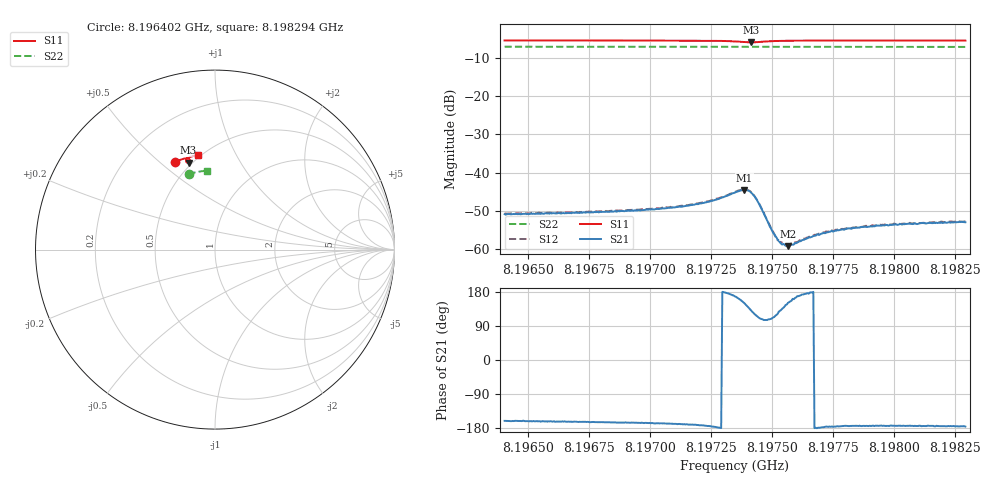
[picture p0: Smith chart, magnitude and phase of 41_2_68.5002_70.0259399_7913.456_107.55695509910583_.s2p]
#  HZ  S  RI  R  50.00
! Rohde & Schwarz Vector Network Analyzer
! Rohde-Schwarz,ZNB20-2Port,1311601062101988,3.16
! Created: UTC 3/20/2024, 4:50:20 PM
! freq[Hz]  re:S11  im:S11  re:S21  im:S21  re:S12  im:S12  re:S22  im:S22
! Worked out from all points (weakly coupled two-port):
!   401 points, 8.196402 GHz to 8.198294 GHz, reference 50 ohm
!   highest |S21| = -44.56 dB at 8.197386 GHz (marker M1); lowest = -59.3 dB at 8.197566 GHz (marker M2)
!   lowest |S11| = -5.9 dB at 8.197414 GHz (marker M3), VSWR 3.05, Z = 24 + j31.2 ohm
!   |S11| at or under -10 dB: nowhere
!   |S22| runs from -7.1 to -7.0 dB; largest |S21 - S12| = 0.0003
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8.1964022e9  -0.2206 0.4895  -0.00269 -0.000946  -0.00277 -0.000868  -0.1474 0.4201
8.196719e9  -0.1989 0.4982  -0.00284 -0.000856  -0.00295 -0.000773  -0.1302 0.425
8.1970359e9  -0.1756 0.5059  -0.00324 -0.000733  -0.00334 -0.000613  -0.1131 0.4294
8.1971352e9  -0.1674 0.5078  -0.00355 -0.000636  -0.00362 -0.000483  -0.1076 0.4306
8.1972203e9  -0.1589 0.5088  -0.00397 -0.000486  -0.00406 -0.000337  -0.1028 0.4317
8.1972818e9  -0.1513 0.5082  -0.00451 -0.00014  -0.00463 4.68e-05  -0.0994 0.4322
8.197348e9  -0.1414 0.5019  -0.00535 0.00116  -0.00541 0.00138  -0.0956 0.4328
8.1973858e9  -0.1397 0.4912  -0.00514 0.00293  -0.00508 0.0032  -0.0936 0.4328
8.1974e9  -0.1423 0.4866  -0.00451 0.00368  -0.0044 0.00391  -0.093 0.4329
8.1974142e9  -0.1473 0.4839  -0.00356 0.00414  -0.00345 0.00437  -0.0923 0.433
8.1974284e9  -0.153 0.4838  -0.00251 0.00417  -0.00236 0.00428  -0.0916 0.4331
8.1974426e9  -0.1578 0.4864  -0.00162 0.00376  -0.0015 0.00389  -0.0909 0.4333
8.1974946e9  -0.1613 0.4997  -0.000588 0.00177  -0.000516 0.00184  -0.0883 0.4342
8.1975182e9  -0.1594 0.5038  -0.00068 0.00123  -0.000636 0.00125  -0.0868 0.4344
8.1975372e9  -0.1574 0.5064  -0.000783 0.000874  -0.000764 0.00097  -0.0858 0.4347
8.1975513e9  -0.1559 0.5078  -0.000883 0.000714  -0.000877 0.000711  -0.0851 0.4349
8.1975655e9  -0.1544 0.509  -0.000947 0.000527  -0.000968 0.000589  -0.0843 0.435
8.1976648e9  -0.1447 0.5144  -0.00144 4.15e-05  -0.00147 6.93e-05  -0.0786 0.4359
8.1977358e9  -0.1386 0.5167  -0.00167 -0.000127  -0.00168 -1.05e-05  -0.0746 0.4365
8.1978114e9  -0.1325 0.5186  -0.00184 -0.000185  -0.00187 -0.00013  -0.0704 0.4371
8.1979817e9  -0.1196 0.5218  -0.00203 -0.000209  -0.00209 -0.000114  -0.0608 0.4382
8.1982938e9  -0.0968 0.5263  -0.00223 -0.000168  -0.00226 -0.000109  -0.0432 0.4398
